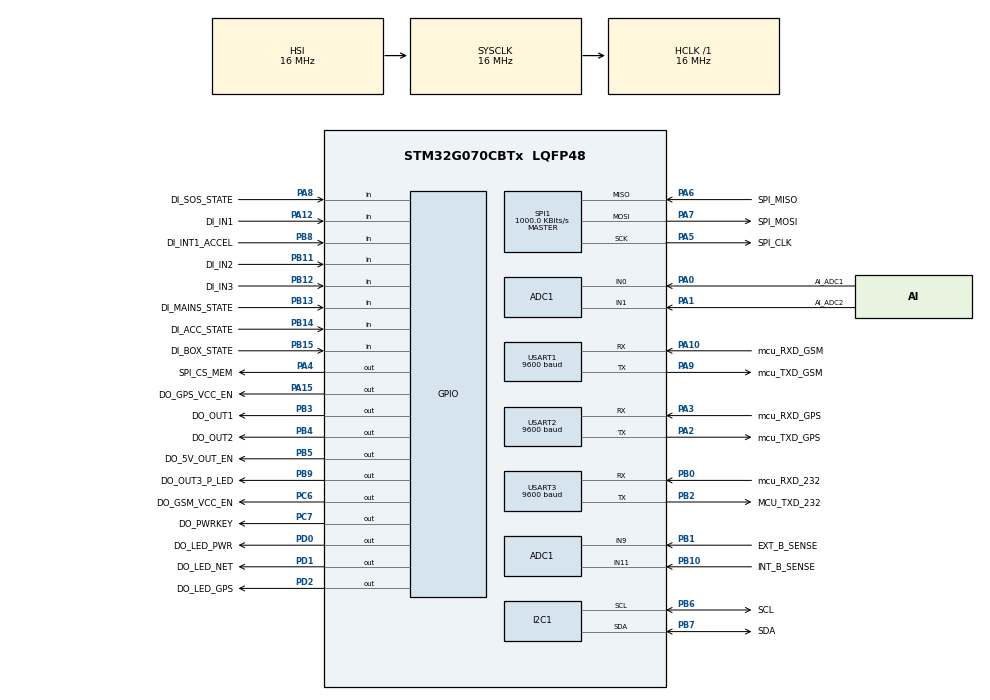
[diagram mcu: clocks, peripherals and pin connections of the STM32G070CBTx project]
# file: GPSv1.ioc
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ADC1.Channel-1\#ChannelRegularConversion=ADC_CHANNEL_1
ADC1.Channel-2\#ChannelRegularConversion=ADC_CHANNEL_9
ADC1.Channel-3\#ChannelRegularConversion=ADC_CHANNEL_11
ADC1.NbrOfConversion=4
ADC1.NbrOfConversionFlag=1
ADC1.Rank-1\#ChannelRegularConversion=2
ADC1.Rank-2\#ChannelRegularConversion=3
ADC1.Rank-3\#ChannelRegularConversion=4
ADC1.SamplingTime-1\#ChannelRegularConversion=ADC_SAMPLINGTIME_COMMON_1
ADC1.SamplingTime-2\#ChannelRegularConversion=ADC_SAMPLINGTIME_COMMON_1
ADC1.SamplingTime-3\#ChannelRegularConversion=ADC_SAMPLINGTIME_COMMON_1
ADC1.SelectedChannel=ADC_CHANNEL_0|ADC_CHANNEL_1|ADC_CHANNEL_9|ADC_CHANNEL_11
ADC1.master=1
Dma.ADC1.0.Direction=DMA_PERIPH_TO_MEMORY
Dma.ADC1.0.EventEnable=DISABLE
Dma.ADC1.0.Instance=DMA1_Channel1
Dma.ADC1.0.MemDataAlignment=DMA_MDATAALIGN_WORD
Dma.ADC1.0.MemInc=DMA_MINC_ENABLE
Dma.ADC1.0.Mode=DMA_CIRCULAR
Dma.ADC1.0.PeriphDataAlignment=DMA_PDATAALIGN_WORD
Dma.ADC1.0.PeriphInc=DMA_PINC_DISABLE
Dma.ADC1.0.Polarity=HAL_DMAMUX_REQ_GEN_RISING
Dma.ADC1.0.Priority=DMA_PRIORITY_LOW
Dma.ADC1.0.RequestNumber=1
Dma.ADC1.0.SignalID=NONE
Dma.ADC1.0.SyncEnable=ENABLE
Dma.ADC1.0.SyncPolarity=HAL_DMAMUX_SYNC_RISING
Dma.ADC1.0.SyncRequestNumber=1
Dma.ADC1.0.SyncSignalID=NONE
Dma.Request0=ADC1
Dma.Request1=USART1_RX
Dma.Request2=USART2_RX
Dma.Request3=USART3_TX
Dma.USART1_RX.1.Direction=DMA_PERIPH_TO_MEMORY
Dma.USART1_RX.1.EventEnable=DISABLE
Dma.USART1_RX.1.Instance=DMA1_Channel2
Dma.USART1_RX.1.MemDataAlignment=DMA_MDATAALIGN_BYTE
Dma.USART1_RX.1.MemInc=DMA_MINC_ENABLE
Dma.USART1_RX.1.Mode=DMA_NORMAL
Dma.USART1_RX.1.PeriphDataAlignment=DMA_PDATAALIGN_BYTE
Dma.USART1_RX.1.PeriphInc=DMA_PINC_DISABLE
Dma.USART1_RX.1.Polarity=HAL_DMAMUX_REQ_GEN_RISING
Dma.USART1_RX.1.Priority=DMA_PRIORITY_LOW
Dma.USART1_RX.1.RequestNumber=1
Dma.USART1_RX.1.SignalID=NONE
Dma.USART1_RX.1.SyncEnable=DISABLE
Dma.USART1_RX.1.SyncPolarity=HAL_DMAMUX_SYNC_NO_EVENT
Dma.USART1_RX.1.SyncRequestNumber=1
Dma.USART1_RX.1.SyncSignalID=NONE
Dma.USART2_RX.2.Direction=DMA_PERIPH_TO_MEMORY
Dma.USART2_RX.2.EventEnable=DISABLE
Dma.USART2_RX.2.Instance=DMA1_Channel3
Dma.USART2_RX.2.MemDataAlignment=DMA_MDATAALIGN_BYTE
Dma.USART2_RX.2.MemInc=DMA_MINC_ENABLE
Dma.USART2_RX.2.Mode=DMA_NORMAL
Dma.USART2_RX.2.PeriphDataAlignment=DMA_PDATAALIGN_BYTE
Dma.USART2_RX.2.PeriphInc=DMA_PINC_DISABLE
Dma.USART2_RX.2.Polarity=HAL_DMAMUX_REQ_GEN_RISING
Dma.USART2_RX.2.Priority=DMA_PRIORITY_LOW
Dma.USART2_RX.2.RequestNumber=1
Dma.USART2_RX.2.SignalID=NONE
Dma.USART2_RX.2.SyncEnable=DISABLE
Dma.USART2_RX.2.SyncPolarity=HAL_DMAMUX_SYNC_NO_EVENT
Dma.USART2_RX.2.SyncRequestNumber=1
Dma.USART2_RX.2.SyncSignalID=NONE
Dma.USART3_TX.3.Direction=DMA_MEMORY_TO_PERIPH
Dma.USART3_TX.3.EventEnable=DISABLE
Dma.USART3_TX.3.Instance=DMA1_Channel4
Dma.USART3_TX.3.MemDataAlignment=DMA_MDATAALIGN_BYTE
Dma.USART3_TX.3.MemInc=DMA_MINC_ENABLE
Dma.USART3_TX.3.Mode=DMA_NORMAL
Dma.USART3_TX.3.PeriphDataAlignment=DMA_PDATAALIGN_BYTE
Dma.USART3_TX.3.PeriphInc=DMA_PINC_DISABLE
Dma.USART3_TX.3.Polarity=HAL_DMAMUX_REQ_GEN_RISING
Dma.USART3_TX.3.Priority=DMA_PRIORITY_LOW
Dma.USART3_TX.3.RequestNumber=1
Dma.USART3_TX.3.SignalID=NONE
Dma.USART3_TX.3.SyncEnable=DISABLE
Dma.USART3_TX.3.SyncPolarity=HAL_DMAMUX_SYNC_NO_EVENT
Dma.USART3_TX.3.SyncRequestNumber=1
Dma.USART3_TX.3.SyncSignalID=NONE
I2C1.Timing=0x00000E14
Mcu.Family=STM32G0
Mcu.Name=STM32G070CBTx
Mcu.Package=LQFP48
NVIC.DMA1_Ch4_7_DMAMUX1_OVR_IRQn=true\:0\:0\:false\:false\:true\:false\:true\:true
NVIC.DMA1_Channel1_IRQn=true\:0\:0\:false\:false\:true\:false\:true\:true
NVIC.DMA1_Channel2_3_IRQn=true\:0\:0\:false\:false\:true\:false\:true\:true
NVIC.TIM1_BRK_UP_TRG_COM_IRQn=true\:3\:0\:false\:false\:true\:false\:true\:true
NVIC.TIM6_IRQn=true\:0\:0\:false\:false\:true\:true\:true\:true
NVIC.TimeBase=TIM1_BRK_UP_TRG_COM_IRQn
NVIC.TimeBaseIP=TIM1
NVIC.USART1_IRQn=true\:0\:0\:false\:false\:true\:true\:true\:true
NVIC.USART2_IRQn=true\:0\:0\:false\:false\:true\:true\:true\:true
NVIC.USART3_4_IRQn=true\:0\:0\:false\:false\:true\:true\:true\:true
PA0.GPIO_Label=AI_ADC1
PA0.GPIO_Mode=GPIO_MODE_ANALOG
PA0.GPIO_PuPd=GPIO_NOPULL
PA0.Signal=SharedAnalog_PA0
PA1.GPIO_Label=AI_ADC2
PA1.GPIO_Mode=GPIO_MODE_ANALOG
PA1.GPIO_PuPd=GPIO_NOPULL
PA1.Signal=SharedAnalog_PA1
PA10.GPIO_FMPA10=__NULL
PA10.GPIO_Label=mcu_RXD_GSM
PA10.GPIO_ModeDefaultPP=GPIO_MODE_AF_PP
PA10.GPIO_PuPd=GPIO_NOPULL
PA10.GPIO_Speed=GPIO_SPEED_FREQ_LOW
PA10.Mode=Asynchronous
PA10.Signal=USART1_RX
PA12\ [PA10].GPIO_Label=DI_IN1
PA12\ [PA10].GPIO_Mode=GPIO_MODE_INPUT
PA12\ [PA10].GPIO_PuPd=GPIO_NOPULL
PA12\ [PA10].Signal=GPIO_Input
PA13.GPIO_Label=SWDIO
PA13.Mode=Serial_Wire
PA13.Signal=SYS_SWDIO
PA14-BOOT0.GPIO_Label=SWCLK
PA14-BOOT0.Mode=Serial_Wire
PA14-BOOT0.Signal=SYS_SWCLK
PA15.GPIO_Label=DO_GPS_VCC_EN
PA15.GPIO_ModeDefaultOutputPP=GPIO_MODE_OUTPUT_PP
PA15.GPIO_PuPd=GPIO_NOPULL
PA15.GPIO_Speed=GPIO_SPEED_FREQ_LOW
PA15.PinState=GPIO_PIN_RESET
PA15.Signal=GPIO_Output
PA2.GPIO_Label=mcu_TXD_GPS
PA2.GPIO_ModeDefaultPP=GPIO_MODE_AF_PP
PA2.GPIO_PuPd=GPIO_NOPULL
PA2.GPIO_Speed=GPIO_SPEED_FREQ_LOW
PA2.Mode=Asynchronous
PA2.PinState=GPIO_PIN_RESET
PA2.Signal=USART2_TX
PA3.GPIO_Label=mcu_RXD_GPS
PA3.GPIO_ModeDefaultPP=GPIO_MODE_AF_PP
PA3.GPIO_PuPd=GPIO_NOPULL
PA3.GPIO_Speed=GPIO_SPEED_FREQ_LOW
PA3.Mode=Asynchronous
PA3.PinState=GPIO_PIN_RESET
PA3.Signal=USART2_RX
PA4.GPIO_Label=SPI_CS_MEM
PA4.Signal=GPIO_Output
PA5.GPIO_Label=SPI_CLK
PA5.GPIO_Mode=GPIO_MODE_AF_PP
PA5.GPIO_PuPd=GPIO_NOPULL
PA5.GPIO_Speed=GPIO_SPEED_FREQ_LOW
PA5.Mode=Full_Duplex_Master
PA5.PinState=GPIO_PIN_RESET
PA5.Signal=SPI1_SCK
PA6.GPIO_Label=SPI_MISO
PA6.GPIO_Mode=GPIO_MODE_AF_PP
PA6.GPIO_PuPd=GPIO_NOPULL
PA6.GPIO_Speed=GPIO_SPEED_FREQ_LOW
PA6.Mode=Full_Duplex_Master
PA6.PinState=GPIO_PIN_RESET
PA6.Signal=SPI1_MISO
PA7.GPIO_Label=SPI_MOSI
PA7.GPIO_Mode=GPIO_MODE_AF_PP
PA7.GPIO_PuPd=GPIO_NOPULL
PA7.GPIO_Speed=GPIO_SPEED_FREQ_LOW
PA7.Mode=Full_Duplex_Master
PA7.PinState=GPIO_PIN_RESET
PA7.Signal=SPI1_MOSI
PA8.GPIO_Label=DI_SOS_STATE
PA8.GPIO_Mode=GPIO_MODE_INPUT
PA8.GPIO_PuPd=GPIO_NOPULL
PA8.Signal=GPIO_Input
PA9.GPIO_FMPA9=__NULL
PA9.GPIO_Label=mcu_TXD_GSM
PA9.GPIO_ModeDefaultPP=GPIO_MODE_AF_PP
PA9.GPIO_PuPd=GPIO_NOPULL
PA9.GPIO_Speed=GPIO_SPEED_FREQ_LOW
PA9.Mode=Asynchronous
PA9.Signal=USART1_TX
PB0.GPIO_Label=mcu_RXD_232
PB0.GPIO_ModeDefaultPP=GPIO_MODE_AF_PP
PB0.GPIO_PuPd=GPIO_NOPULL
PB0.GPIO_Speed=GPIO_SPEED_FREQ_LOW
PB0.Mode=Asynchronous
PB0.PinState=GPIO_PIN_RESET
PB0.Signal=USART3_RX
PB1.GPIO_Label=EXT_B_SENSE
PB1.GPIO_Mode=GPIO_MODE_ANALOG
PB1.GPIO_PuPd=GPIO_NOPULL
PB1.Signal=SharedAnalog_PB1
PB10.GPIO_Label=INT_B_SENSE
PB10.GPIO_Mode=GPIO_MODE_ANALOG
PB10.GPIO_PuPd=GPIO_NOPULL
PB10.Signal=SharedAnalog_PB10
PB11.GPIO_Label=DI_IN2
PB11.GPIO_Mode=GPIO_MODE_INPUT
PB11.GPIO_PuPd=GPIO_NOPULL
PB11.Signal=GPIO_Input
PB12.GPIO_Label=DI_IN3
PB12.GPIO_Mode=GPIO_MODE_INPUT
PB12.GPIO_PuPd=GPIO_NOPULL
PB12.Signal=GPIO_Input
PB13.GPIO_Label=DI_MAINS_STATE
PB13.GPIO_Mode=GPIO_MODE_INPUT
PB13.GPIO_PuPd=GPIO_NOPULL
PB13.Signal=GPIO_Input
PB14.GPIO_Label=DI_ACC_STATE
PB14.GPIO_Mode=GPIO_MODE_INPUT
PB14.GPIO_PuPd=GPIO_NOPULL
PB14.Signal=GPIO_Input
PB15.GPIO_Label=DI_BOX_STATE
PB15.GPIO_Mode=GPIO_MODE_INPUT
PB15.GPIO_PuPd=GPIO_NOPULL
PB15.Signal=GPIO_Input
PB2.GPIO_Label=MCU_TXD_232
PB2.GPIO_ModeDefaultPP=GPIO_MODE_AF_PP
PB2.GPIO_PuPd=GPIO_NOPULL
PB2.GPIO_Speed=GPIO_SPEED_FREQ_LOW
PB2.Mode=Asynchronous
PB2.PinState=GPIO_PIN_RESET
PB2.Signal=USART3_TX
PB3.GPIO_Label=DO_OUT1
PB3.GPIO_ModeDefaultOutputPP=GPIO_MODE_OUTPUT_PP
PB3.GPIO_PuPd=GPIO_NOPULL
PB3.GPIO_Speed=GPIO_SPEED_FREQ_LOW
PB3.PinState=GPIO_PIN_RESET
PB3.Signal=GPIO_Output
PB4.GPIO_Label=DO_OUT2
PB4.GPIO_ModeDefaultOutputPP=GPIO_MODE_OUTPUT_PP
PB4.GPIO_PuPd=GPIO_NOPULL
PB4.GPIO_Speed=GPIO_SPEED_FREQ_LOW
PB4.PinState=GPIO_PIN_RESET
PB4.Signal=GPIO_Output
PB5.GPIO_Label=DO_5V_OUT_EN
PB5.GPIO_ModeDefaultOutputPP=GPIO_MODE_OUTPUT_PP
PB5.GPIO_PuPd=GPIO_NOPULL
PB5.GPIO_Speed=GPIO_SPEED_FREQ_LOW
PB5.PinState=GPIO_PIN_RESET
PB5.Signal=GPIO_Output
PB6.GPIO_FM6=__NULL
PB6.GPIO_Label=SCL
PB6.GPIO_Mode=GPIO_MODE_AF_OD
PB6.GPIO_Pu=GPIO_PULLUP
PB6.GPIO_Speed=GPIO_SPEED_FREQ_LOW
PB6.Mode=I2C
PB6.Signal=I2C1_SCL
PB7.GPIO_FM7=__NULL
PB7.GPIO_Label=SDA
PB7.GPIO_Mode=GPIO_MODE_AF_OD
PB7.GPIO_Pu=GPIO_PULLUP
PB7.GPIO_Speed=GPIO_SPEED_FREQ_LOW
PB7.Mode=I2C
PB7.Signal=I2C1_SDA
PB8.GPIO_Label=DI_INT1_ACCEL
PB8.GPIO_Mode=GPIO_MODE_INPUT
PB8.GPIO_PuPd=GPIO_NOPULL
PB8.Signal=GPIO_Input
PB9.GPIO_FM9=__NULL
PB9.GPIO_Label=DO_OUT3_P_LED
PB9.GPIO_ModeDefaultOutputPP=GPIO_MODE_OUTPUT_PP
PB9.GPIO_PuPd=GPIO_NOPULL
PB9.GPIO_Speed=GPIO_SPEED_FREQ_LOW
PB9.PinState=GPIO_PIN_RESET
PB9.Signal=GPIO_Output
PC14-OSC32_IN\ (PC14).GPIO_Label=OSC32_IN
PC14-OSC32_IN\ (PC14).Mode=LSE-External-Oscillator
PC14-OSC32_IN\ (PC14).Signal=RCC_OSC32_IN
PC15-OSC32_OUT\ (PC15).GPIO_Label=OSC32_OUT
PC15-OSC32_OUT\ (PC15).Mode=LSE-External-Oscillator
PC15-OSC32_OUT\ (PC15).Signal=RCC_OSC32_OUT
PC6.GPIO_Label=DO_GSM_VCC_EN
PC6.GPIO_ModeDefaultOutputPP=GPIO_MODE_OUTPUT_PP
PC6.GPIO_PuPd=GPIO_NOPULL
PC6.GPIO_Speed=GPIO_SPEED_FREQ_LOW
PC6.PinState=GPIO_PIN_RESET
PC6.Signal=GPIO_Output
PC7.GPIO_Label=DO_PWRKEY
PC7.GPIO_ModeDefaultOutputPP=GPIO_MODE_OUTPUT_PP
PC7.GPIO_PuPd=GPIO_NOPULL
PC7.GPIO_Speed=GPIO_SPEED_FREQ_LOW
PC7.PinState=GPIO_PIN_RESET
PC7.Signal=GPIO_Output
PD0.GPIO_Label=DO_LED_PWR
PD0.GPIO_ModeDefaultOutputPP=GPIO_MODE_OUTPUT_PP
PD0.GPIO_PuPd=GPIO_NOPULL
PD0.GPIO_Speed=GPIO_SPEED_FREQ_LOW
PD0.PinState=GPIO_PIN_RESET
PD0.Signal=GPIO_Output
PD1.GPIO_Label=DO_LED_NET
PD1.GPIO_ModeDefaultOutputPP=GPIO_MODE_OUTPUT_PP
PD1.GPIO_PuPd=GPIO_NOPULL
PD1.GPIO_Speed=GPIO_SPEED_FREQ_LOW
PD1.PinState=GPIO_PIN_RESET
PD1.Signal=GPIO_Output
PD2.GPIO_Label=DO_LED_GPS
PD2.GPIO_ModeDefaultOutputPP=GPIO_MODE_OUTPUT_PP
PD2.GPIO_PuPd=GPIO_NOPULL
PD2.GPIO_Speed=GPIO_SPEED_FREQ_LOW
PD2.PinState=GPIO_PIN_RESET
PD2.Signal=GPIO_Output
PF0-OSC_IN\ (PF0).GPIO_Label=OSC_IN
PF0-OSC_IN\ (PF0).Mode=HSE-External-Oscillator
PF0-OSC_IN\ (PF0).Signal=RCC_OSC_IN
PF1-OSC_OUT\ (PF1).GPIO_Label=OSC_OUT
PF1-OSC_OUT\ (PF1).Mode=HSE-External-Oscillator
PF1-OSC_OUT\ (PF1).Signal=RCC_OSC_OUT
ProjectManager.HeapSize=0x200
ProjectManager.StackSize=0x400
ProjectManager.TargetToolchain=STM32CubeIDE
RCC.ADCFreq_Value=16000000
RCC.AHBFreq_Value=16000000
RCC.APB1CLKDivider=RCC_HCLK_DIV4
RCC.CortexFreq_Value=16000000
RCC.EXTERNAL_CLOCK_VALUE=48000
RCC.HCLKFreq_Value=16000000
RCC.HSE_VALUE=8000000
RCC.HSI_VALUE=16000000
RCC.SYSCLKFreq_VALUE=16000000
RCC.VCOOutputFreq_Value=128000000
SH.SharedAnalog_PA0.0=GPIO_Analog
SH.SharedAnalog_PA0.1=ADC1_IN0,IN0
SH.SharedAnalog_PA1.0=GPIO_Analog
SH.SharedAnalog_PA1.1=ADC1_IN1,IN1
SH.SharedAnalog_PB1.0=GPIO_Analog
SH.SharedAnalog_PB1.1=ADC1_IN9,IN9
SH.SharedAnalog_PB10.0=GPIO_Analog
SH.SharedAnalog_PB10.1=ADC1_IN11,IN11
SPI1.BaudRatePrescaler=SPI_BAUDRATEPRESCALER_4
SPI1.CalculateBaudRate=1000.0 KBits/s
SPI1.DataSize=SPI_DATASIZE_8BIT
SPI1.Direction=SPI_DIRECTION_2LINES
SPI1.Mode=SPI_MODE_MASTER
SPI1.VirtualType=VM_MASTER
TIM6.Period=500-1
TIM6.Prescaler=8000-1
USART1.BaudRate=9600
USART1.VirtualMode-Asynchronous=VM_ASYNC
USART1.WordLength=WORDLENGTH_8B
USART2.BaudRate=9600
USART2.VirtualMode-Asynchronous=VM_ASYNC
USART2.WordLength=WORDLENGTH_8B
USART3.BaudRate=9600
USART3.VirtualMode-Asynchronous=VM_ASYNC
USART3.WordLength=WORDLENGTH_8B
VP_SYS_VS_DBSignals.Mode=DisableDeadBatterySignals
VP_SYS_VS_tim1.Mode=TIM1
VP_TIM6_VS_ClockSourceINT.Mode=Enable_Timer
board=custom

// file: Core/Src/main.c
/* USER CODE BEGIN Header */
/**
  ******************************************************************************
  * @file           : main.c
  * @brief          : Main program body
  ******************************************************************************
  * @attention
  *
  * Copyright (c) 2023 STMicroelectronics.
  * All rights reserved.
  *
  * This software is licensed under terms that can be found in the LICENSE file
  * in the root directory of this software component.
  * If no LICENSE file comes with this software, it is provided AS-IS.
  *
  ******************************************************************************
  */
/* USER CODE END Header */
#include "main.h"

/* USER CODE BEGIN PD */

float SpeedThr=80;
char DataString[300];
char GPSString[100];
char GPSLine[100];
int GPSLineN=0;
int seqNo=0;
int gpsSt=0;
char Regno[20];
char IMEI[20];
char in3[1000];
char inn[2];
char INSMSno[30];
char OUTSMSno[30];
char EmgIP[50];
char RegIP[50];
char TracIP[50];
int AccGyroStatus=0;
int AccGyroStatus1=0;
char simop[25];
int TimeCount=0;
int RunCnt=0;
int DMAon=1;
ADC_HandleTypeDef hadc1;
DMA_HandleTypeDef hdma_adc1;

I2C_HandleTypeDef hi2c1;

SPI_HandleTypeDef hspi1;

TIM_HandleTypeDef htim6;

UART_HandleTypeDef huart1;
UART_HandleTypeDef huart2;
UART_HandleTypeDef huart3;
DMA_HandleTypeDef hdma_usart1_rx;
DMA_HandleTypeDef hdma_usart2_rx;
DMA_HandleTypeDef hdma_usart3_tx;

static void Debug_Tx(char[]);
static char* Debug_Rx(void);
static void GSM_Tx(const char[]);
//static void GPS_Tx(const char[]);
static void GSM_TxL(const char[]);
//static char* GSM_Rx(void);
//static char* GSM_RxL(void);
float stor(const char*);
void initFirstRun(void);
void Run(void);
void timedWork(void);
void TestRun(void);
void ReadAllGPIO(void);

#include "gpio.h"
#include "gsm.h"
#include "mem.h"
#include "acc.h"
#include "gps.h"
#include "testCode.h"
#include "runtime.h"

/* USER CODE END PD */

ADC_HandleTypeDef hadc1;
DMA_HandleTypeDef hdma_adc1;

I2C_HandleTypeDef hi2c1;

SPI_HandleTypeDef hspi1;

TIM_HandleTypeDef htim6;

UART_HandleTypeDef huart1;
UART_HandleTypeDef huart2;
UART_HandleTypeDef huart3;
DMA_HandleTypeDef hdma_usart1_rx;
DMA_HandleTypeDef hdma_usart2_rx;
DMA_HandleTypeDef hdma_usart3_tx;

void SystemClock_Config(void);
static void MX_GPIO_Init(void);
static void MX_DMA_Init(void);
static void MX_ADC1_Init(void);
static void MX_I2C1_Init(void);
static void MX_SPI1_Init(void);
static void MX_TIM6_Init(void);
static void MX_USART1_UART_Init(void);
static void MX_USART2_UART_Init(void);
static void MX_USART3_UART_Init(void);

/* USER CODE BEGIN 0 */

void timedWork(){
	HAL_GPIO_TogglePin(GPIOD, DO_LED_GPS_Pin);

		//%%%%%%%    AccGyro Rest    %%%%%%
	    if (AccGyroStatus1==0){AccGyroStatus=detectAcc();}
	    if (AccGyroStatus>0){AccGyroStatus1=AccGyroStatus;}

}

float stor(const char* str) {
    float result = 0;
    float sign = *str == '-' ? str++, -1 : 1;
    while (*str >= '0' && *str <= '9') {
        result *= 10;
        result += *str - '0';
        str++;
    }
    if (*str == ',' || *str == '.') {
        str++;
        float multiplier = 0.1;
        while (*str >= '0' && *str <= '9') {
            result += (*str - '0') * multiplier;
            multiplier /= 10;
            str++;
        }
    }
    result *= sign;
    if (*str == 'e' || *str == 'E') {
        str++;
        float powerer = *str == '-'? str++, 0.1 : 10;
        float power = 0;
        while (*str >= '0' && *str <= '9') {
            power *= 10;
            power += *str - '0';
            str++;
        }
        result *= pow(powerer, power);
    }
    return result;
}

void HAL_UART_TxCpltCallback(UART_HandleTypeDef *huart)
{

}
void HAL_UART_RxCpltCallback(UART_HandleTypeDef *huart){
	{

	  HAL_GPIO_TogglePin (GPIOD, DO_LED_GPS_Pin);
	//Debug_Tx("V");
	if(huart==&huart2){
		if(dnlfile==0){
		if(strlen((char*)gpsData)>10){

	  		//Debug_Tx((char*)gpsData);
			ProcessGPS((char*)gpsData);
			getGPSString();
			timedWork();
			ReadAllGPIO();
		}
		if(DMAon==1){
		if(strlen((char*)gpsData)>0) memset((char*)gpsData,0,999);
		//__HAL_UART_CLEAR_IT(&huart2, UART_CLEAR_NEF|UART_CLEAR_OREF);
		HAL_UART_Receive_DMA(&huart2, gpsData, 900);}
		}
	}
	if(huart==&huart1){
		if(strlen((char*)GSMData)<1900){
		    if(GSMBuff[0]!=0)	strcat(GSMData,(char*)GSMBuff);
		}

		if(DMAon==1){
		GSMBuff[0]=0;
		//__HAL_UART_CLEAR_IT(&huart1, UART_CLEAR_NEF|UART_CLEAR_OREF);
		HAL_UART_Receive_DMA(&huart1, GSMBuff, 1);
		}
	}
	}

}

void HAL_UART_ErrorCallback(UART_HandleTypeDef *huart){
	if(huart==&huart2){

		if(dnlfile==0){
		if(DMAon==1){
		//Debug_Tx("GPSErr");
    	if(strlen((char*)gpsData)>0) memset((char*)gpsData,0,999);
    	__HAL_UART_CLEAR_IT(&huart2, UART_CLEAR_NEF|UART_CLEAR_OREF);
    	HAL_UART_Receive_DMA(&huart2, gpsData, 900);
		}
		}
	}
	if(huart==&huart1){

		if(DMAon==1){
		//Debug_Tx("GSMErr");
		GSMBuff[0]=0;
		__HAL_UART_CLEAR_IT(&huart1, UART_CLEAR_NEF|UART_CLEAR_OREF);
		__HAL_UART_CLEAR_IT(&huart2, UART_CLEAR_NEF|UART_CLEAR_OREF);
			    	HAL_UART_Receive_DMA(&huart1, GSMBuff, 1);
		}
	}

}

void restartGSMuart(){GSMBuff[0]=0;__HAL_UART_CLEAR_IT(&huart2, UART_CLEAR_NEF|UART_CLEAR_OREF);

__HAL_UART_CLEAR_IT(&huart1, UART_CLEAR_NEF|UART_CLEAR_OREF);
HAL_UART_Receive_DMA(&huart1, GSMBuff, 1);

}
void initFirstRun(){//20.210.207.21\",5001
	ClearQueue();
	writeConfig("AS-o1-A-9222\0","in sim no1234567891234in sim no\0","out sim no 123456789123456out sim no\0",
 	  				  "20.210.207.21","20.210.207.21","20.210.207.21",
	  				  "oooooooootttttthheerrrrrrOtherdatadddaaatttttttttaaaaaaaaa\0");

}

void ReadAllGPIO(){
	memset(StatusStrng,0,20);
	memset(Dig_io,0,30);

	//%%%%%%%    GPIO Read    %%%%%%
	Dig_in[0]=Read_DI_IN1();
	Dig_in[1]=Read_DI_IN2();
	Dig_in[2]=Read_DI_IN3();

	MAINS_STATE=Read_DI_MAINS_STATE();
	ACC_STATE=Read_DI_ACC_STATE();
	BOX_STATE=Read_DI_BOX_STATE();
	SOS_STATE=Read_DI_SOS_STATE();
	EXT_B=Read_EXT_B_SENSE();
	INT_B=Read_INT_B_SENSE();

	adc[0]=Read_ADC1();
	adc[1]=Read_ADC2();

	memset(StatusStrng,0,20);
	memset(Dig_io,0,30);

    sprintf(Dig_io, "%d%d%d0,%d%d,%d,0.0,",Dig_in[0],Dig_in[1],Dig_in[2],Digout1,Digout2,seqNo);//Dig_io
	sprintf(StatusStrng, "%d,%d,%.1f,%.1f,%d,%c",ACC_STATE,MAINS_STATE,EXT_B,INT_B,SOS_STATE,BOX_STATE);

}

void GetHead(){

	memset(Head,0,100);
	strcpy(Head,InitStr);
	strcat(Head,",");
	strcat(Head,VerStr);
	if((EmergencyStateON==-1 )& (SOS_STATE==1 )){EmergencyStateON=1;EmergencyStateOFF=-1;}
	if((EmergencyStateOFF==-1 )& (SOS_STATE==0) ){EmergencyStateOFF=1;EmergencyStateON=-1;}
	if((IgnitionTurnedON==-1 )&( MAINS_STATE==1 )){IgnitionTurnedON=1;IgnitionTurnedOFF=-1;}
	if((IgnitionTurnedOFF==-1) &( MAINS_STATE==0 )){IgnitionTurnedOFF=1;IgnitionTurnedON=-1;}
	if((InternalBatterLow==-1) & (INT_B<3.0 )){InternalBatterLow=1;InternalBatteryChargedAgain=-1;}
	if((InternalBatteryChargedAgain==-1 )& (INT_B>=3.0)){InternalBatteryChargedAgain=1;InternalBatterLow=-1;}
	if((MainBatteryDisconnect==-1 )& (INT_B<3.0 )){MainBatteryDisconnect=1;MainBatteryReconnect=-1;}
	if((MainBatteryReconnect==-1 )& (INT_B>=3.0)){MainBatteryReconnect=1;MainBatteryDisconnect=-1;}
	if(GSMSignal<=10){
		strcat(Head,AlartStr_HistoryPVTData);
	}
	else if(getSpeed()>SpeedThr){
		strcat(Head,AlartStr_OverSpeed);
	}
	else if(EmergencyWireBreak>0){
		strcat(Head,AlartStr_EmergencyWireBreak);
		EmergencyWireBreak=0;
	}
	else if(AccGyroStatus==1){
		strcat(Head,AlartStr_HarshAcceleration);
	}

	else if(AccGyroStatus==2){
		strcat(Head,AlartStr_HarshBreaking);
	}
	else if(AccGyroStatus==3){
		strcat(Head,AlartStr_RashTurning);
	}
	else if(EmergencyStateON>0){
		strcat(Head,AlartStr_EmergencyStateON);
		EmergencyStateON=0;
	}
	else if(EmergencyStateOFF>0){
		strcat(Head,AlartStr_EmergencyStateOFF);
		EmergencyStateOFF=0;
	}
	else if(IgnitionTurnedON>0){
		strcat(Head,AlartStr_IgnitionTurnedON);
		IgnitionTurnedON=0;
	}
	else if(IgnitionTurnedOFF>0){
		strcat(Head,AlartStr_IgnitionTurnedOFF);
		IgnitionTurnedOFF=0;
	}
	else if(BOX_STATE=='C'){
		strcat(Head,AlartStr_BoxTemper);
	}
	else if(InternalBatterLow>0){
		strcat(Head,AlartStr_InternalBatterLow);
		InternalBatterLow=0;
	}
	else if(InternalBatteryChargedAgain>0){
		strcat(Head,AlartStr_InternalBatteryChargedAgain);
		InternalBatteryChargedAgain=0;
	}
	else if(MainBatteryDisconnect>0){
		strcat(Head,AlartStr_MainBatteryDisconnect);
		MainBatteryDisconnect=0;

	}
	else if(MainBatteryReconnect>0){
		strcat(Head,AlartStr_MainBatteryReconnect);
		MainBatteryReconnect=0;
	}
	else if(HistoryPVTData>0){
		strcat(Head,AlartStr_HistoryPVTData);
		HistoryPVTData=0;
	}
	else if(HealthPacket>0){
		strcat(Head,AlartStr_HealthPacket);
		HealthPacket=0;
	}
	else if(OTAParameterChange>0){
		strcat(Head,AlartStr_OTAParameterChange);
		OTAParameterChange=0;
	}
	else{
		strcat(Head,AlartStr_NormalPkt);
	}

	if(GSMSignal<=10){
			strcat(Head,PacketStatusStrHist);
	}else{
		strcat(Head,PacketStatusStrLive);
	}

	//%%%%%%%    AccGyro Rest    %%%%%%
    if (AccGyroStatus1>0){AccGyroStatus1=0;}

}

void TestRun(){

	if(errorlen>10){
		Debug_Tx("GSMUART error rebooting device");
		NVIC_SystemReset();
	}

	printInt(seqNo);

	MAINS_STATE=Read_DI_MAINS_STATE();
	ACC_STATE=Read_DI_ACC_STATE();
	BOX_STATE=Read_DI_BOX_STATE();
	SOS_STATE=Read_DI_SOS_STATE();
	EXT_B=Read_EXT_B_SENSE();
	INT_B=Read_INT_B_SENSE();

	adc[0]=Read_ADC1();
	adc[1]=Read_ADC2();
	if(EXT_B>7){
		SET_LED_PWR(1);
	}
	else{
		SET_LED_PWR(0);
	}

memset(INSMSno,0,30);
memset(OUTSMSno,0,30);
memset(EmgIP,0,50);
memset(RegIP,0,50);
memset(TracIP,0,50);
memset(simop,0,25);

strcpy(INSMSno,readINSMSno());
strcpy(OUTSMSno,readOUTSMSno());
strcpy(EmgIP,readEmgIP());
strcpy(RegIP,readRegIP());
strcpy(TracIP,readTracIP());
//Debug_Tx("BEFORE SIM OP");
strcpy(simop, GSMSimOperator());
//Debug_Tx("AFTER SIM OP");
//strcpy(simop, GSMSimOperator());
//strcpy(simop, GSMSimOperator());

	//%%%%%%%    GSM Info Read    %%%%%%
	int GSMinfoT=tic();
	GSMCellInfo();

	toc(GSMinfoT,"_________________________While loop GSMinfo");

	// %%%%%%%%%%%%%%%%%%%%%%%%%Create Protocall %%%%%%%%%%%%%%%%%%%%%%%%%%%%%%
	GetHead();
	//Debug_Tx(Head);

	if (debug==122){
		memset(DataString,0,300);
		strcat(DataString,"Head:");
		strcat(DataString,Head);strcat(DataString,"\nRegno:");
		strcat(DataString,Regno);strcat(DataString,"\nGPSDS:");
		strcat(DataString,gpsDataRet);strcat(DataString,"\nIMEI:");
		strcat(DataString,IMEI);strcat(DataString,"\nSIMOP:");
		strcat(DataString,simop);strcat(DataString,"\nStratusString:");
		strcat(DataString,StatusStrng);strcat(DataString,"\nGsminfo:");
		strcat(DataString,gsminfo);strcat(DataString,"\nDig_io:");
		strcat(DataString,Dig_io);strcat(DataString,",\n\0");
		Debug_Tx(DataString);
	}
	memset(data_LOGIN,0,100);
	strcat(data_LOGIN,"$");
	strcat(data_LOGIN,Regno);strcat(data_LOGIN,",");
	strcat(data_LOGIN,"$");
	strcat(data_LOGIN,IMEI);strcat(data_LOGIN,",");
	strcat(data_LOGIN,"$");
	strcat(data_LOGIN,VerStr);strcat(data_LOGIN,",");
	strcat(data_LOGIN,"$");
	strcat(data_LOGIN,VerStr);strcat(data_LOGIN,",0.0E0.0N,");
	sprintf(checksum, "%02x",nmea0183_checksum(data_LOGIN));
	strcat(data_LOGIN,checksum);
	strcat(data_LOGIN,",*\0");

    memset(checksum,0,3);
    memset(DataString,0,300);
	strcat(DataString,Head);strcat(DataString,",");
	strcat(DataString,IMEI);strcat(DataString,",");
	strcat(DataString,Regno);strcat(DataString,",");
	strcat(DataString,gpsDataRet);strcat(DataString,",");
	strcat(DataString,simop);strcat(DataString,",");
 	strcat(DataString,StatusStrng);strcat(DataString,",");
 	strcat(DataString,gsminfo);strcat(DataString,",");
 	strcat(DataString,Dig_io);//strcat(DataString,"\0");
 	// %%%%%%%%%%%%%%%%%%%%%%%%%Add Checksum %%%%%%%%%%%%%%%%%%%%%%%%%%%%%%

    sprintf(checksum, "%02x",nmea0183_checksum(DataString));
    strcat(DataString,checksum);
    strcat(DataString,",*\0");

    if (debug==1){
    }
    if(ServerConnected==1){
    	while(ReadQdata()>0){
			//
    		ProcessTCPAll( ReadMDataS);
    	}
    	// %%%%%%%%%%%%%%%%%%%%%%%%Send Protocall %%%%%%%%%%%%%%%%%%%%%%%%%%%%%%
    	int tcpsendT=tic();

     	ProcessTCPAll(DataString);
     	toc( tcpsendT,"_________________________While loop tcp send data");
     	RunCnt=0;
    }
    else{
    	if (debug==1){
    		Debug_Tx("No GSM Signal Saving Data to Memory----");
    	}
    	WriteQdata((uint8_t*)DataString, strlen(DataString)+1);
    	RunCnt++;
    	if(RunCnt>10){
    		//InitGSM();
    		RunCnt=0;
    	}

    	//HAL_Delay(5000);
    }

	/*while(TimeDelay(TimeCount,5)==1){
		HAL_Delay(10);
		timedWork();

	}
	*/
	TimeCount=tic();

 	//ProcessTCPAll(TracIP,"6055", DataString);
 	//ProcessTCPAll("34.74.249.18","300", DataString);
 	//ProcessTCPAll("34.74.249.18","300", DataString, "taisysnet");

 	seqNo=seqNo+1;

}

static void Debug_Tx(char _out[]){

	__HAL_UART_CLEAR_IT(&huart3, UART_CLEAR_NEF|UART_CLEAR_OREF);
	HAL_UART_Transmit(&huart3, (uint8_t *) _out, strlen(_out), 5000);
	char newline[2] = "\r\n";
	HAL_UART_Transmit(&huart3, (uint8_t *) newline, 2, 10);

}

static char* Debug_Rx(){

	__HAL_UART_CLEAR_IT(&huart3, UART_CLEAR_NEF|UART_CLEAR_OREF);
	HAL_UART_Receive(&huart3, (uint8_t *)inn, 1000, 300);
	return(inn);

}

static void GSM_Tx(const char _out[]){
	 __HAL_UART_CLEAR_IT(&huart1, UART_CLEAR_NEF|UART_CLEAR_OREF);
		HAL_UART_Transmit(&huart1, (uint8_t *) _out, strlen(_out), 300);
	//memset(_out,0,strlen(_out));
}

static void GSM_TxL(const char _out[]){

	  __HAL_UART_CLEAR_IT(&huart1, UART_CLEAR_NEF|UART_CLEAR_OREF);
	HAL_UART_Transmit(&huart1, (uint8_t *) _out, strlen(_out), 5000);
	//memset(_out,0,strlen(_out));
}

/* USER CODE END 0 */

int main(void)
{

  /* MCU Configuration--------------------------------------------------------*/

  /* Reset of all peripherals, Initializes the Flash interface and the Systick. */
  HAL_Init();

  /* Configure the system clock */
  SystemClock_Config();

  /* Initialize all configured peripherals */
  MX_GPIO_Init();
  MX_DMA_Init();
  MX_ADC1_Init();
  MX_I2C1_Init();
  MX_SPI1_Init();
  MX_TIM6_Init();
  MX_USART1_UART_Init();
  MX_USART2_UART_Init();
  MX_USART3_UART_Init();

  /* Infinite loop */
  /* USER CODE BEGIN WHILE */

	 // TestDigitalOutput();

	 __enable_irq();
initAcc();
//TestDigitalOutput();
SET_GPS_VCC_EN(1);
SET_GSM_VCC_EN(1);
SET_PWRKEY(1);
Init_ADC();
SET_5V_OUT_EN(1);
SET_GPS_VCC_EN(1);
SET_GSM_VCC_EN(1);
SET_PWRKEY(1);
GSMBuff[0]=0;
memset((char*)gpsData,0,1000);
__HAL_UART_CLEAR_IT(&huart2, UART_CLEAR_NEF|UART_CLEAR_OREF);
HAL_UART_Receive_DMA(&huart2, gpsData, 900);
__HAL_UART_CLEAR_IT(&huart1, UART_CLEAR_NEF|UART_CLEAR_OREF);
HAL_UART_Receive_DMA(&huart1, GSMBuff, 1);
initGPS();
initFirstRun();
InitMEMQ();
HAL_Delay(10000);
InitGSM();
TestMEM();

memset(IMEI,0,20);
memset(Regno,0,20);
strcpy(IMEI,GSMIMEI());
strcpy(Regno,readRegNo());

StartTCPConnection();
while (1){//DownloadFile();
GSMSigQuality();
TestRun();
}
  /* USER CODE END 3 */
}

void SystemClock_Config(void)
{
  RCC_OscInitTypeDef RCC_OscInitStruct = {0};
  RCC_ClkInitTypeDef RCC_ClkInitStruct = {0};

  /** Configure the main internal regulator output voltage
  */
  HAL_PWREx_ControlVoltageScaling(PWR_REGULATOR_VOLTAGE_SCALE1);

  /** Initializes the RCC Oscillators according to the specified parameters
  * in the RCC_OscInitTypeDef structure.
  */
  RCC_OscInitStruct.OscillatorType = RCC_OSCILLATORTYPE_HSI;
  RCC_OscInitStruct.HSIState = RCC_HSI_ON;
  RCC_OscInitStruct.HSIDiv = RCC_HSI_DIV1;
  RCC_OscInitStruct.HSICalibrationValue = RCC_HSICALIBRATION_DEFAULT;
  RCC_OscInitStruct.PLL.PLLState = RCC_PLL_NONE;
  if (HAL_RCC_OscConfig(&RCC_OscInitStruct) != HAL_OK)
  {
    Error_Handler();
  }

  /** Initializes the CPU, AHB and APB buses clocks
  */
  RCC_ClkInitStruct.ClockType = RCC_CLOCKTYPE_HCLK|RCC_CLOCKTYPE_SYSCLK
                              |RCC_CLOCKTYPE_PCLK1;
  RCC_ClkInitStruct.SYSCLKSource = RCC_SYSCLKSOURCE_HSI;
  RCC_ClkInitStruct.AHBCLKDivider = RCC_SYSCLK_DIV1;
  RCC_ClkInitStruct.APB1CLKDivider = RCC_HCLK_DIV4;

  if (HAL_RCC_ClockConfig(&RCC_ClkInitStruct, FLASH_LATENCY_0) != HAL_OK)
  {
    Error_Handler();
  }
}

static void MX_ADC1_Init(void)
{

  ADC_ChannelConfTypeDef sConfig = {0};

  /** Configure the global features of the ADC (Clock, Resolution, Data Alignment and number of conversion)
  */
  hadc1.Instance = ADC1;
  hadc1.Init.ClockPrescaler = ADC_CLOCK_SYNC_PCLK_DIV2;
  hadc1.Init.Resolution = ADC_RESOLUTION_12B;
  hadc1.Init.DataAlign = ADC_DATAALIGN_RIGHT;
  hadc1.Init.ScanConvMode = ADC_SCAN_ENABLE;
  hadc1.Init.EOCSelection = ADC_EOC_SINGLE_CONV;
  hadc1.Init.LowPowerAutoWait = DISABLE;
  hadc1.Init.LowPowerAutoPowerOff = DISABLE;
  hadc1.Init.ContinuousConvMode = DISABLE;
  hadc1.Init.NbrOfConversion = 4;
  hadc1.Init.DiscontinuousConvMode = DISABLE;
  hadc1.Init.ExternalTrigConv = ADC_SOFTWARE_START;
  hadc1.Init.ExternalTrigConvEdge = ADC_EXTERNALTRIGCONVEDGE_NONE;
  hadc1.Init.DMAContinuousRequests = DISABLE;
  hadc1.Init.Overrun = ADC_OVR_DATA_PRESERVED;
  hadc1.Init.SamplingTimeCommon1 = ADC_SAMPLETIME_1CYCLE_5;
  hadc1.Init.SamplingTimeCommon2 = ADC_SAMPLETIME_1CYCLE_5;
  hadc1.Init.OversamplingMode = DISABLE;
  hadc1.Init.TriggerFrequencyMode = ADC_TRIGGER_FREQ_HIGH;
  if (HAL_ADC_Init(&hadc1) != HAL_OK)
  {
    Error_Handler();
  }

  /** Configure Regular Channel
  */
  sConfig.Channel = ADC_CHANNEL_1;
  sConfig.Rank = ADC_REGULAR_RANK_2;
  sConfig.SamplingTime = ADC_SAMPLINGTIME_COMMON_1;
  if (HAL_ADC_ConfigChannel(&hadc1, &sConfig) != HAL_OK)
  {
    Error_Handler();
  }

  /** Configure Regular Channel
  */
  sConfig.Channel = ADC_CHANNEL_9;
  sConfig.Rank = ADC_REGULAR_RANK_3;
  if (HAL_ADC_ConfigChannel(&hadc1, &sConfig) != HAL_OK)
  {
    Error_Handler();
  }

  /** Configure Regular Channel
  */
  sConfig.Channel = ADC_CHANNEL_11;
  sConfig.Rank = ADC_REGULAR_RANK_4;
  if (HAL_ADC_ConfigChannel(&hadc1, &sConfig) != HAL_OK)
  {
    Error_Handler();
  }

}

static void MX_I2C1_Init(void)
{

  hi2c1.Instance = I2C1;
  hi2c1.Init.Timing = 0x00000E14;
  hi2c1.Init.OwnAddress1 = 0;
  hi2c1.Init.AddressingMode = I2C_ADDRESSINGMODE_7BIT;
  hi2c1.Init.DualAddressMode = I2C_DUALADDRESS_DISABLE;
  hi2c1.Init.OwnAddress2 = 0;
  hi2c1.Init.OwnAddress2Masks = I2C_OA2_NOMASK;
  hi2c1.Init.GeneralCallMode = I2C_GENERALCALL_DISABLE;
  hi2c1.Init.NoStretchMode = I2C_NOSTRETCH_DISABLE;
  if (HAL_I2C_Init(&hi2c1) != HAL_OK)
  {
    Error_Handler();
  }

  /** Configure Analogue filter
  */
  if (HAL_I2CEx_ConfigAnalogFilter(&hi2c1, I2C_ANALOGFILTER_ENABLE) != HAL_OK)
  {
    Error_Handler();
  }

  /** Configure Digital filter
  */
  if (HAL_I2CEx_ConfigDigitalFilter(&hi2c1, 0) != HAL_OK)
  {
    Error_Handler();
  }

}

static void MX_SPI1_Init(void)
{

  /* SPI1 parameter configuration*/
  hspi1.Instance = SPI1;
  hspi1.Init.Mode = SPI_MODE_MASTER;
  hspi1.Init.Direction = SPI_DIRECTION_2LINES;
  hspi1.Init.DataSize = SPI_DATASIZE_8BIT;
  hspi1.Init.CLKPolarity = SPI_POLARITY_LOW;
  hspi1.Init.CLKPhase = SPI_PHASE_1EDGE;
  hspi1.Init.NSS = SPI_NSS_SOFT;
  hspi1.Init.BaudRatePrescaler = SPI_BAUDRATEPRESCALER_4;
  hspi1.Init.FirstBit = SPI_FIRSTBIT_MSB;
  hspi1.Init.TIMode = SPI_TIMODE_DISABLE;
  hspi1.Init.CRCCalculation = SPI_CRCCALCULATION_DISABLE;
  hspi1.Init.CRCPolynomial = 7;
  hspi1.Init.CRCLength = SPI_CRC_LENGTH_DATASIZE;
  hspi1.Init.NSSPMode = SPI_NSS_PULSE_ENABLE;
  if (HAL_SPI_Init(&hspi1) != HAL_OK)
  {
    Error_Handler();
  }

}

static void MX_TIM6_Init(void)
{

  TIM_MasterConfigTypeDef sMasterConfig = {0};

  htim6.Instance = TIM6;
  htim6.Init.Prescaler = 8000-1;
  htim6.Init.CounterMode = TIM_COUNTERMODE_UP;
  htim6.Init.Period = 500-1;
  htim6.Init.AutoReloadPreload = TIM_AUTORELOAD_PRELOAD_DISABLE;
  if (HAL_TIM_Base_Init(&htim6) != HAL_OK)
  {
    Error_Handler();
  }
  sMasterConfig.MasterOutputTrigger = TIM_TRGO_RESET;
  sMasterConfig.MasterSlaveMode = TIM_MASTERSLAVEMODE_DISABLE;
  if (HAL_TIMEx_MasterConfigSynchronization(&htim6, &sMasterConfig) != HAL_OK)
  {
    Error_Handler();
  }

}

static void MX_USART1_UART_Init(void)
{

  huart1.Instance = USART1;
  huart1.Init.BaudRate = 9600;
  huart1.Init.WordLength = UART_WORDLENGTH_8B;
  huart1.Init.StopBits = UART_STOPBITS_1;
  huart1.Init.Parity = UART_PARITY_NONE;
  huart1.Init.Mode = UART_MODE_TX_RX;
  huart1.Init.HwFlowCtl = UART_HWCONTROL_NONE;
  huart1.Init.OverSampling = UART_OVERSAMPLING_16;
  huart1.Init.OneBitSampling = UART_ONE_BIT_SAMPLE_DISABLE;
  huart1.Init.ClockPrescaler = UART_PRESCALER_DIV1;
  huart1.AdvancedInit.AdvFeatureInit = UART_ADVFEATURE_NO_INIT;
  if (HAL_UART_Init(&huart1) != HAL_OK)
  {
    Error_Handler();
  }
  if (HAL_UARTEx_SetTxFifoThreshold(&huart1, UART_TXFIFO_THRESHOLD_1_8) != HAL_OK)
  {
    Error_Handler();
  }
  if (HAL_UARTEx_SetRxFifoThreshold(&huart1, UART_RXFIFO_THRESHOLD_1_8) != HAL_OK)
  {
    Error_Handler();
  }
  if (HAL_UARTEx_DisableFifoMode(&huart1) != HAL_OK)
  {
    Error_Handler();
  }

}

static void MX_USART2_UART_Init(void)
{

  huart2.Instance = USART2;
  huart2.Init.BaudRate = 9600;
  huart2.Init.WordLength = UART_WORDLENGTH_8B;
  huart2.Init.StopBits = UART_STOPBITS_1;
  huart2.Init.Parity = UART_PARITY_NONE;
  huart2.Init.Mode = UART_MODE_TX_RX;
  huart2.Init.HwFlowCtl = UART_HWCONTROL_NONE;
  huart2.Init.OverSampling = UART_OVERSAMPLING_16;
  huart2.Init.OneBitSampling = UART_ONE_BIT_SAMPLE_DISABLE;
  huart2.Init.ClockPrescaler = UART_PRESCALER_DIV1;
  huart2.AdvancedInit.AdvFeatureInit = UART_ADVFEATURE_NO_INIT;
  if (HAL_UART_Init(&huart2) != HAL_OK)
  {
    Error_Handler();
  }
  if (HAL_UARTEx_SetTxFifoThreshold(&huart2, UART_TXFIFO_THRESHOLD_1_8) != HAL_OK)
  {
    Error_Handler();
  }
  if (HAL_UARTEx_SetRxFifoThreshold(&huart2, UART_RXFIFO_THRESHOLD_1_8) != HAL_OK)
  {
    Error_Handler();
  }
  if (HAL_UARTEx_DisableFifoMode(&huart2) != HAL_OK)
  {
    Error_Handler();
  }

}

static void MX_USART3_UART_Init(void)
{

  huart3.Instance = USART3;
  huart3.Init.BaudRate = 9600;
  huart3.Init.WordLength = UART_WORDLENGTH_8B;
  huart3.Init.StopBits = UART_STOPBITS_1;
  huart3.Init.Parity = UART_PARITY_NONE;
  huart3.Init.Mode = UART_MODE_TX_RX;
  huart3.Init.HwFlowCtl = UART_HWCONTROL_NONE;
  huart3.Init.OverSampling = UART_OVERSAMPLING_16;
  huart3.Init.OneBitSampling = UART_ONE_BIT_SAMPLE_DISABLE;
  huart3.Init.ClockPrescaler = UART_PRESCALER_DIV1;
  huart3.AdvancedInit.AdvFeatureInit = UART_ADVFEATURE_NO_INIT;
  if (HAL_UART_Init(&huart3) != HAL_OK)
  {
    Error_Handler();
  }

}

static void MX_DMA_Init(void)
{

  /* DMA controller clock enable */
  __HAL_RCC_DMA1_CLK_ENABLE();

  /* DMA interrupt init */
  /* DMA1_Channel1_IRQn interrupt configuration */
  HAL_NVIC_SetPriority(DMA1_Channel1_IRQn, 0, 0);
  HAL_NVIC_EnableIRQ(DMA1_Channel1_IRQn);
  /* DMA1_Channel2_3_IRQn interrupt configuration */
  HAL_NVIC_SetPriority(DMA1_Channel2_3_IRQn, 0, 0);
  HAL_NVIC_EnableIRQ(DMA1_Channel2_3_IRQn);
  /* DMA1_Ch4_7_DMAMUX1_OVR_IRQn interrupt configuration */
  HAL_NVIC_SetPriority(DMA1_Ch4_7_DMAMUX1_OVR_IRQn, 0, 0);
  HAL_NVIC_EnableIRQ(DMA1_Ch4_7_DMAMUX1_OVR_IRQn);

}

static void MX_GPIO_Init(void)
{
  GPIO_InitTypeDef GPIO_InitStruct = {0};

  /* GPIO Ports Clock Enable */
  __HAL_RCC_GPIOC_CLK_ENABLE();
  __HAL_RCC_GPIOF_CLK_ENABLE();
  __HAL_RCC_GPIOA_CLK_ENABLE();
  __HAL_RCC_GPIOB_CLK_ENABLE();
  __HAL_RCC_GPIOD_CLK_ENABLE();

  /*Configure GPIO pin Output Level */
  HAL_GPIO_WritePin(GPIOA, SPI_CS_MEM_Pin|DO_GPS_VCC_EN_Pin, GPIO_PIN_RESET);

  /*Configure GPIO pin Output Level */
  HAL_GPIO_WritePin(GPIOC, DO_GSM_VCC_EN_Pin|DO_PWRKEY_Pin, GPIO_PIN_RESET);

  /*Configure GPIO pin Output Level */
  HAL_GPIO_WritePin(GPIOD, DO_LED_PWR_Pin|DO_LED_NET_Pin|DO_LED_GPS_Pin, GPIO_PIN_RESET);

  /*Configure GPIO pin Output Level */
  HAL_GPIO_WritePin(GPIOB, DO_OUT1_Pin|DO_OUT2_Pin|DO_5V_OUT_EN_Pin|DO_OUT3_P_LED_Pin, GPIO_PIN_RESET);

  /*Configure GPIO pins : SPI_CS_MEM_Pin DO_GPS_VCC_EN_Pin */
  GPIO_InitStruct.Pin = SPI_CS_MEM_Pin|DO_GPS_VCC_EN_Pin;
  GPIO_InitStruct.Mode = GPIO_MODE_OUTPUT_PP;
  GPIO_InitStruct.Pull = GPIO_NOPULL;
  GPIO_InitStruct.Speed = GPIO_SPEED_FREQ_LOW;
  HAL_GPIO_Init(GPIOA, &GPIO_InitStruct);

  /*Configure GPIO pins : DI_IN2_Pin DI_IN3_Pin DI_MAINS_STATE_Pin DI_ACC_STATE_Pin
                           DI_BOX_STATE_Pin DI_INT1_ACCEL_Pin */
  GPIO_InitStruct.Pin = DI_IN2_Pin|DI_IN3_Pin|DI_MAINS_STATE_Pin|DI_ACC_STATE_Pin
                          |DI_BOX_STATE_Pin|DI_INT1_ACCEL_Pin;
  GPIO_InitStruct.Mode = GPIO_MODE_INPUT;
  GPIO_InitStruct.Pull = GPIO_NOPULL;
  HAL_GPIO_Init(GPIOB, &GPIO_InitStruct);

  /*Configure GPIO pins : DI_SOS_STATE_Pin DI_IN1_Pin */
  GPIO_InitStruct.Pin = DI_SOS_STATE_Pin|DI_IN1_Pin;
  GPIO_InitStruct.Mode = GPIO_MODE_INPUT;
  GPIO_InitStruct.Pull = GPIO_NOPULL;
  HAL_GPIO_Init(GPIOA, &GPIO_InitStruct);

  /*Configure GPIO pins : DO_GSM_VCC_EN_Pin DO_PWRKEY_Pin */
  GPIO_InitStruct.Pin = DO_GSM_VCC_EN_Pin|DO_PWRKEY_Pin;
  GPIO_InitStruct.Mode = GPIO_MODE_OUTPUT_PP;
  GPIO_InitStruct.Pull = GPIO_NOPULL;
  GPIO_InitStruct.Speed = GPIO_SPEED_FREQ_LOW;
  HAL_GPIO_Init(GPIOC, &GPIO_InitStruct);

  /*Configure GPIO pins : DO_LED_PWR_Pin DO_LED_NET_Pin DO_LED_GPS_Pin */
  GPIO_InitStruct.Pin = DO_LED_PWR_Pin|DO_LED_NET_Pin|DO_LED_GPS_Pin;
  GPIO_InitStruct.Mode = GPIO_MODE_OUTPUT_PP;
  GPIO_InitStruct.Pull = GPIO_NOPULL;
  GPIO_InitStruct.Speed = GPIO_SPEED_FREQ_LOW;
  HAL_GPIO_Init(GPIOD, &GPIO_InitStruct);

  /*Configure GPIO pins : DO_OUT1_Pin DO_OUT2_Pin DO_5V_OUT_EN_Pin DO_OUT3_P_LED_Pin */
  GPIO_InitStruct.Pin = DO_OUT1_Pin|DO_OUT2_Pin|DO_5V_OUT_EN_Pin|DO_OUT3_P_LED_Pin;
  GPIO_InitStruct.Mode = GPIO_MODE_OUTPUT_PP;
  GPIO_InitStruct.Pull = GPIO_NOPULL;
  GPIO_InitStruct.Speed = GPIO_SPEED_FREQ_LOW;
  HAL_GPIO_Init(GPIOB, &GPIO_InitStruct);

}

void HAL_TIM_PeriodElapsedCallback(TIM_HandleTypeDef *htim)
{
  if (htim->Instance == TIM1) {
    HAL_IncTick();
  }
}

void Error_Handler(void)
{
  __disable_irq();
  while (1)
  {
  }
}
